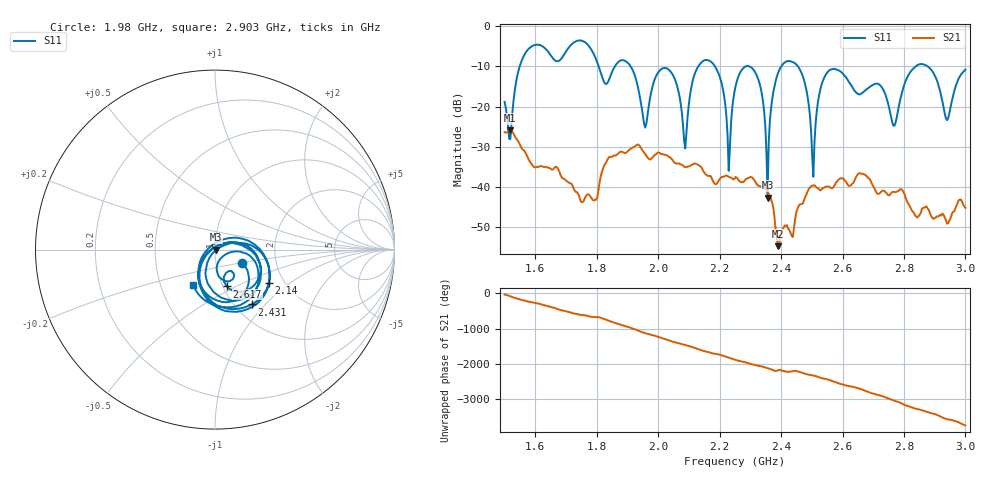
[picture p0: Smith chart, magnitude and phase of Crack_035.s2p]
# HZ S RI R 50
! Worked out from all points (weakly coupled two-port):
!   404 points, 1.5 GHz to 3 GHz, reference 50 ohm
!   highest |S21| = -25.90 dB at 1.519 GHz (marker M1); lowest = -54.8 dB at 2.39 GHz (marker M2)
!   lowest |S11| = -42.7 dB at 2.356 GHz (marker M3), VSWR 1.01, Z = 50.7 - j0.0858 ohm
!   |S11| at or under -10 dB: 1.91 GHz to 2.13 GHz (220.2 MHz wide, 10.9 % of centre); 2.455 GHz to 2.838 GHz (382.8 MHz wide, 14.5 % of centre); 2.877 GHz to end of sweep (the widest 3 of 7)
!   S12 and S22 are empty: the file has one direction only
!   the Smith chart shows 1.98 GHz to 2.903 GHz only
!   S11 on the Smith chart (normalised r, x): 1.98 GHz: 1.34, -0.21; 2.14 GHz: 1.67, -0.71; 2.431 GHz: 1.19, -0.84; 2.617 GHz: 1.04, -0.45; 2.903 GHz: 0.73, -0.30
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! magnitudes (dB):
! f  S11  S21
! 1.5 GHz  -18.8  -26.4
! 1.519 GHz  -28.1  -25.9
! 1.574 GHz  -5.9  -32.5
! 1.753 GHz  -3.6  -43.9
! 1.958 GHz  -25.2  -31.8
! 1.98 GHz  -15.4  -32.8
! 2.002 GHz  -11.2  -31.5
! 2.088 GHz  -30.4  -35.1
! 2.14 GHz  -9.1  -35.1
! 2.23 GHz  -36.0  -37.5
! 2.252 GHz  -14.9  -37.6
! 2.315 GHz  -11.4  -38.7
! 2.356 GHz  -42.7  -41.3
! 2.39 GHz  -11.7  -54.8
! 2.431 GHz  -8.7  -51.5
! 2.501 GHz  -32.2  -39.7
! 2.546 GHz  -12.0  -39.9
! 2.617 GHz  -13.3  -39.5
! 2.751 GHz  -19.9  -42.2
! 2.903 GHz  -12.7  -47.7
! 2.94 GHz  -23.4  -49.2
! 3 GHz  -10.8  -45.2
